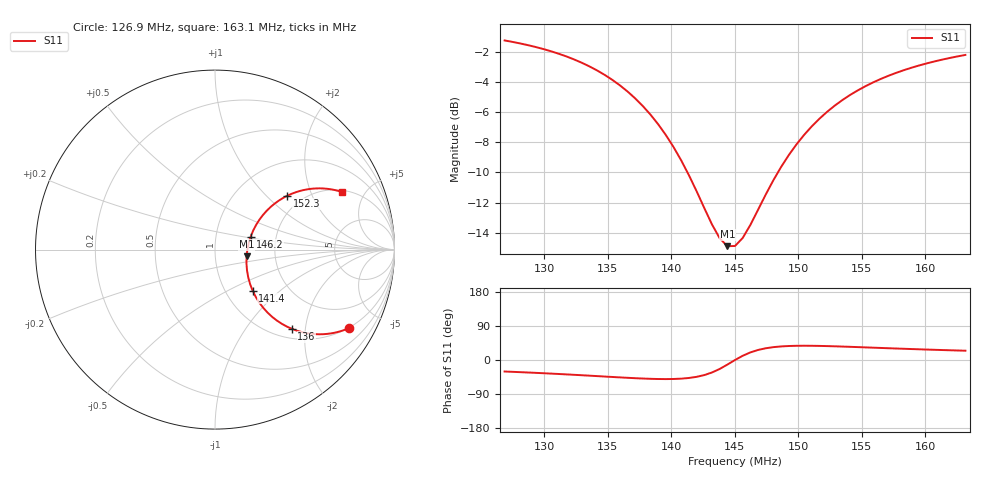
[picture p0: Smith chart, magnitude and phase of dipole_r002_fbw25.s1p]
! Free-space dipole, 1.0 m, 0.2 mm radius
! resonance 145.02 MHz, antenna Q 9.3, fractional bandwidth 25%
! generated with NEC via necpp
# MHZ S MA R 50
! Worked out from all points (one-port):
!   61 points, 126.9 MHz to 163.1 MHz, reference 50 ohm
!   lowest |S11| = -14.9 dB at 144.4 MHz (marker M1), VSWR 1.44, Z = 71.1 - j5.6 ohm
!   |S11| at or under -10 dB: 141.3 MHz to 148.4 MHz (7.122 MHz wide, 4.92 % of centre)
!   S11 on the Smith chart (normalised r, x): 126.9 MHz: 0.98, -3.42; 136 MHz: 1.19, -1.69; 141.4 MHz: 1.34, -0.67; 146.2 MHz: 1.48, +0.22; 152.3 MHz: 1.67, +1.34; 163.1 MHz: 2.10, +3.38
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126.8933  0.8652 -30.4
129.3104  0.8235 -33.9
131.7274  0.7666 -37.9
134.1444  0.6892 -42.4
135.9571  0.6146 -45.9
136.5614  0.5863 -47.0
137.7699  0.5245 -48.9
138.9784  0.4563 -50.2
140.1869  0.3835 -50.1
140.7912  0.3463 -49.2
141.3954  0.3094 -47.4
142.6039  0.2409 -39.8
143.2082  0.2126 -33.0
143.8124  0.1914 -23.7
144.4167  0.1801 -12.2
145.021  0.1803 -0.0
145.6252  0.1917 11.1
146.2295  0.2117 20.0
148.0422  0.2979 33.9
148.6465  0.3294 35.8
149.855  0.3913 37.5
151.0635  0.4493 37.5
152.272  0.5021 36.7
154.0848  0.5711 34.8
156.5018  0.6453 31.8
158.9188  0.7029 28.9
160.7316  0.7375 26.9
163.1486  0.7748 24.5
